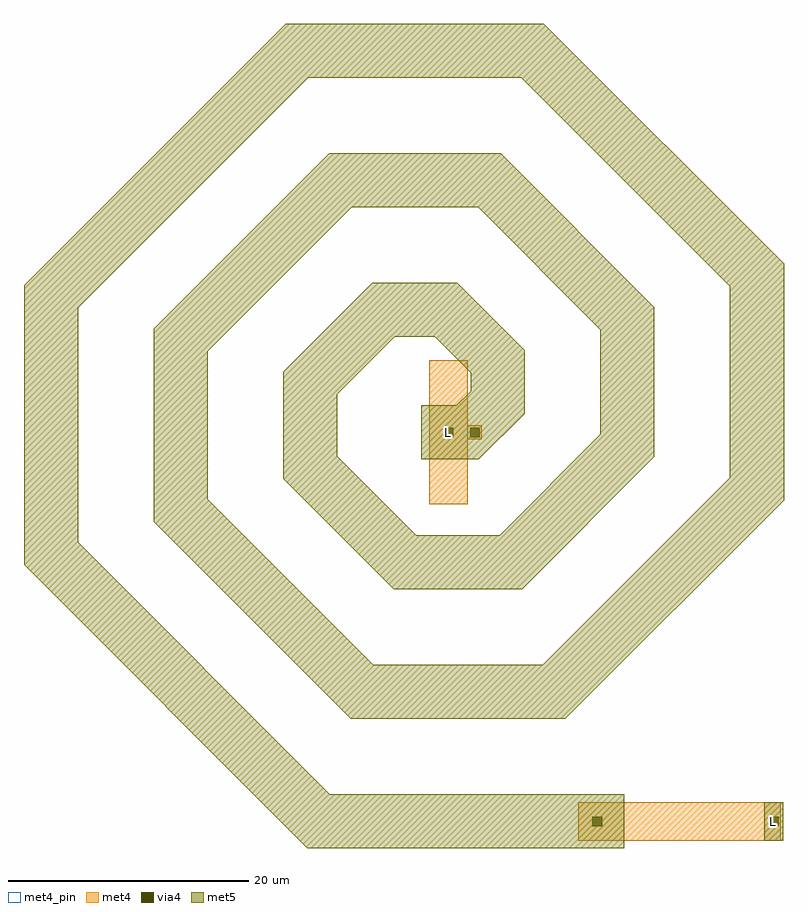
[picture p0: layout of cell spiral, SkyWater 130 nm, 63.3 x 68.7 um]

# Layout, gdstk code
import gdstk
lib = gdstk.Library(unit=1e-6, precision=1e-09)
def R(c, l, rs):  # rectangles x0, y0, x1, y1
    for r in rs: c.add(gdstk.rectangle(r[:2], r[2:], *l))
def P(c, l, *ps):  # polygons
    for p in ps: c.add(gdstk.Polygon(p, *l))
met4_pin = (71, 16)
met4 = (71, 20)
via4 = (71, 44)
met5 = (72, 20)

spiral = lib.new_cell('spiral')
R(spiral, met4_pin, [(2.1,-5.7,5.3,6.3)])
R(spiral, met4, [(14.5,-33.7,17.7,-30.5), (17.7,-33.7,31.4,-30.5), (15.51,-32.69,16.69,-31.51), (30.21,-32.69,31.39,-31.51), (2.1,-5.7,5.3,6.3), (3.11,-0.29,4.29,0.89), (5.31,-0.29,6.49,0.89)])
R(spiral, via4, [(15.7,-32.5,16.5,-31.7), (30.4,-32.5,31.2,-31.7), (3.3,-0.1,4.1,0.7), (5.5,-0.1,6.3,0.7)])
R(spiral, met5, [(30,-33.7,31.6,-30.5), (15.3,-33.35,16.9,-30.85), (30,-33.35,31.6,-30.85), (2.9,-0.95,4.5,1.55), (5.1,-0.95,6.7,1.55)])
P(spiral, met5, [(-8.04,-34.35),(-31.65,-10.74),(-31.65,12.54),(-9.84,34.35),(11.64,34.35),(31.65,14.34),(31.65,-5.34),(13.44,-23.55),(-4.44,-23.55),(-20.85,-7.14),(-20.85,8.94),(-6.24,23.55),(8.04,23.55),(20.85,10.74),(20.85,-1.74),(9.84,-12.75),(-0.84,-12.75),(-10.05,-3.54),(-10.05,5.34),(-2.64,12.75),(4.44,12.75),(10.05,7.14),(10.05,1.86),(6.24,-1.95),(1.45,-1.95),(1.45,2.55),(4.37,2.55),(5.55,3.73),(5.55,5.27),(2.57,8.25),(-0.77,8.25),(-5.55,3.47),(-5.55,-1.67),(1.03,-8.25),(7.97,-8.25),(16.35,0.13),(16.35,8.87),(6.17,19.05),(-4.37,19.05),(-16.35,7.07),(-16.35,-5.27),(-2.57,-19.05),(11.57,-19.05),(27.15,-3.47),(27.15,12.47),(9.77,29.85),(-7.97,29.85),(-27.15,10.67),(-27.15,-8.87),(-6.17,-29.85),(18.35,-29.85),(18.35,-34.35)])
spiral.add(gdstk.Label('L', (3.7,0.3), layer=71, texttype=16))
spiral.add(gdstk.Label('L', (3.7,0.3), layer=71, texttype=5))
spiral.add(gdstk.Label('L', (30.8,-32.1), layer=72, texttype=5))

lib.write_gds('spiral.gds')
